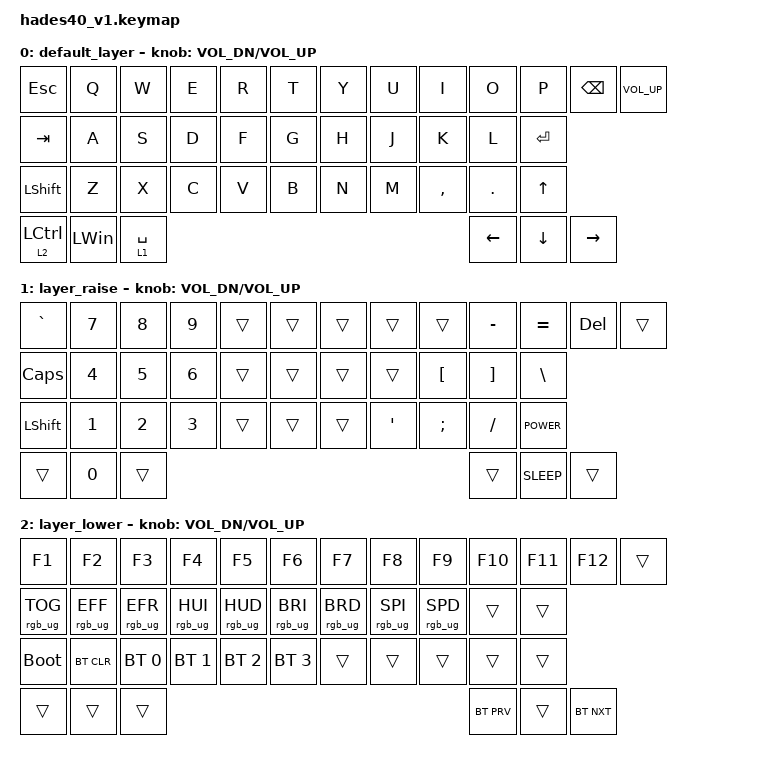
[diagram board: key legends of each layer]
/*
 * Copyright (c) 2020 The ZMK Contributors
 *
 * SPDX-License-Identifier: MIT
 */
/* THIS FILE WAS GENERATED!
 *
 * This file was generated automatically. You may or may not want to
 * edit it directly.
 */

#include <behaviors.dtsi>
#include <dt-bindings/zmk/keys.h>
#include <dt-bindings/zmk/rgb.h>
#include <dt-bindings/zmk/bt.h>

/ {
    keymap {
        compatible = "zmk,keymap";

        default_layer {
            bindings = <
     &kp ESC         &kp Q   &kp W   &kp E   &kp R        &kp T   &kp Y   &kp U      &kp I    &kp O      &kp P   &kp BSPC  &kp C_VOLUME_UP
     &kp TAB         &kp A   &kp S   &kp D   &kp F        &kp G   &kp H   &kp J      &kp K    &kp L  &kp ENTER
   &kp LSHFT         &kp Z   &kp X   &kp C   &kp V        &kp B   &kp N   &kp M  &kp COMMA  &kp DOT     &kp UP
 &lt 2 LCTRL  &kp LEFT_WIN                          &lt 1 SPACE                   &kp LEFT            &kp DOWN  &kp RIGHT
            >;
            sensor-bindings = <&inc_dec_kp C_VOL_DN C_VOL_UP>;
        };

        layer_raise {
            bindings = <
      &kp GRAVE  &kp N7  &kp N8  &kp N9  &trans  &trans  &trans            &trans            &trans          &kp MINUS      &kp EQUAL  &kp DELETE  &trans
   &kp CAPSLOCK  &kp N4  &kp N5  &kp N6  &trans  &trans  &trans            &trans  &kp LEFT_BRACKET  &kp RIGHT_BRACKET  &kp BACKSLASH
 &kp LEFT_SHIFT  &kp N1  &kp N2  &kp N3  &trans  &trans  &trans  &kp SINGLE_QUOTE     &kp SEMICOLON          &kp SLASH    &kp K_POWER
         &trans  &kp N0                          &trans                                      &trans                       &kp K_SLEEP      &trans
            >;
            sensor-bindings = <&inc_dec_kp C_VOL_DN C_VOL_UP>;
        };

        layer_lower {
            bindings = <
          &kp F1           &kp F2           &kp F3           &kp F4           &kp F5           &kp F6           &kp F7           &kp F8           &kp F9  &kp F10  &kp F11     &kp F12  &trans
 &rgb_ug RGB_TOG  &rgb_ug RGB_EFF  &rgb_ug RGB_EFR  &rgb_ug RGB_HUI  &rgb_ug RGB_HUD  &rgb_ug RGB_BRI  &rgb_ug RGB_BRD  &rgb_ug RGB_SPI  &rgb_ug RGB_SPD   &trans   &trans
     &bootloader       &bt BT_CLR     &bt BT_SEL 0     &bt BT_SEL 1     &bt BT_SEL 2     &bt BT_SEL 3           &trans           &trans           &trans   &trans   &trans
          &trans           &trans                                                              &trans                                         &bt BT_PRV            &trans  &bt BT_NXT
            >;
            sensor-bindings = <&inc_dec_kp C_VOL_DN C_VOL_UP>;
        };
    };
};
